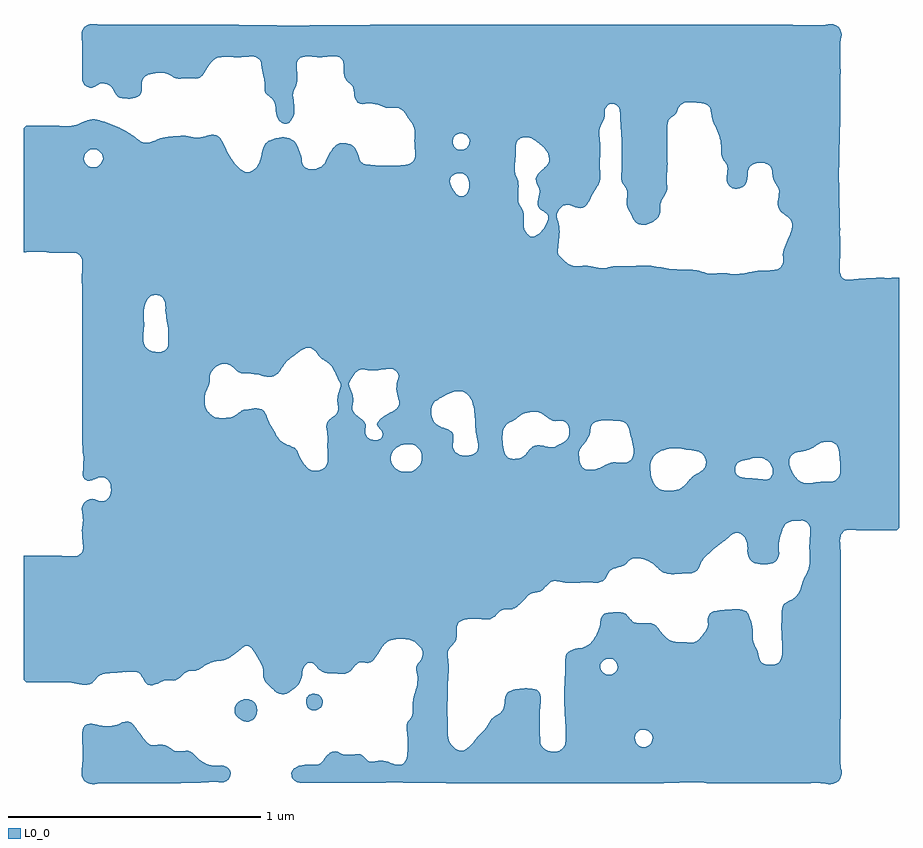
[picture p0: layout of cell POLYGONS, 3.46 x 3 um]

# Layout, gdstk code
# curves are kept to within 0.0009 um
import gdstk
lib = gdstk.Library(unit=1e-6, precision=1e-09)
def R(c, l, rs):  # rectangles x0, y0, x1, y1
    for r in rs: c.add(gdstk.rectangle(r[:2], r[2:], *l))
def P(c, l, *ps):  # polygons
    for p in ps: c.add(gdstk.Polygon(p, *l))
L0_0 = (0, 0)

polygons = lib.new_cell('POLYGONS')
R(polygons, L0_0, [(-1.499,0.02,-1.36,0.26), (-0.544,0.88,-0.42,0.94), (-0.42,0.88,-0.26,0.94), (-0.26,0.88,-0.12,0.94)])
P(polygons, L0_0, [(-1.47,-1.501),(-1.45,-1.502),(-1.42,-1.499),(-1.36,-1.5),(-1.11,-1.499),(-1.03,-1.497),(-0.99,-1.494),(-0.97,-1.494),(-0.96,-1.496),(-0.95,-1.496),(-0.94,-1.495),(-0.93,-1.491),(-0.92,-1.483),(-0.914,-1.47),(-0.913,-1.46),(-0.915,-1.45),(-0.92,-1.442),(-0.93,-1.434),(-0.94,-1.43),(-0.95,-1.428),(-0.98,-1.43),(-1,-1.425),(-1.013,-1.42),(-1.03,-1.41),(-1.043,-1.4),(-1.06,-1.382),(-1.07,-1.374),(-1.08,-1.371),(-1.11,-1.373),(-1.13,-1.372),(-1.14,-1.368),(-1.17,-1.348),(-1.18,-1.346),(-1.22,-1.348),(-1.23,-1.346),(-1.24,-1.341),(-1.259,-1.32),(-1.29,-1.277),(-1.3,-1.265),(-1.31,-1.257),(-1.32,-1.254),(-1.33,-1.255),(-1.369,-1.27),(-1.39,-1.273),(-1.41,-1.273),(-1.43,-1.271),(-1.45,-1.265),(-1.46,-1.263),(-1.47,-1.263),(-1.48,-1.265),(-1.488,-1.27),(-1.495,-1.28),(-1.498,-1.29),(-1.499,-1.3),(-1.498,-1.41),(-1.502,-1.45),(-1.5,-1.475),(-1.492,-1.49),(-1.48,-1.498)],
  [(-1.499,1.477),(-1.5,1.475),(-1.501,1.47),(-1.502,1.46),(-1.502,1.45),(-1.501,1.44),(-1.5,1.434),(-1.5,1.43),(-1.499,1.426)],
  [(-1.499,1.368),(-1.499,1.36),(-1.499,1.352)],
  [(-1.72,0.6),(-1.67,0.6),(-1.63,0.598),(-1.53,0.598),(-1.52,0.595),(-1.51,0.59),(-1.503,0.58),(-1.499,0.561),(-1.499,1.113),(-1.53,1.101),(-1.55,1.098),(-1.62,1.1),(-1.64,1.099),(-1.72,1.1),(-1.73,1.09),(-1.73,0.6)],
  [(-1.499,0.541),(-1.5,0.53),(-1.5,0.52),(-1.501,0.51),(-1.501,0.48),(-1.5,0.471),(-1.5,0.46),(-1.499,0.45)],
  [(-1.5,0.23),(-1.5,-0.06),(-1.499,-0.07),(-1.499,-0.074),(-1.499,0.423),(-1.499,0.41),(-1.5,0.4)],
  [(-1.499,-0.404),(-1.5,-0.407),(-1.501,-0.41),(-1.501,-0.42),(-1.5,-0.424),(-1.499,-0.43)],
  [(-1.499,-0.486),(-1.5,-0.49),(-1.5,-0.491),(-1.501,-0.5),(-1.5,-0.51),(-1.5,-0.515),(-1.5,-0.52),(-1.499,-0.523)],
  [(-1.499,-0.584),(-1.503,-0.59),(-1.51,-0.596),(-1.52,-0.601),(-1.53,-0.602),(-1.61,-0.599),(-1.73,-0.6),(-1.73,-1.09),(-1.72,-1.1),(-1.55,-1.1),(-1.499,-1.109)],
  [(-1.36,1.5),(-1.42,1.499),(-1.45,1.502),(-1.47,1.501),(-1.48,1.498),(-1.49,1.492),(-1.499,1.477),(-1.499,1.28),(-1.496,1.27),(-1.49,1.26),(-1.48,1.253),(-1.47,1.25),(-1.46,1.251),(-1.45,1.254),(-1.43,1.265),(-1.42,1.267),(-1.4,1.264),(-1.39,1.259),(-1.38,1.249),(-1.37,1.23),(-1.36,1.217)],
  [(-1.36,1.095),(-1.38,1.104),(-1.41,1.115),(-1.44,1.124),(-1.46,1.125),(-1.48,1.121),(-1.499,1.113),(-1.499,0.97),(-1.493,0.97),(-1.492,0.98),(-1.49,0.985),(-1.478,1),(-1.47,1.004),(-1.46,1.006),(-1.45,1.006),(-1.44,1.004),(-1.432,1),(-1.422,0.99),(-1.418,0.98),(-1.417,0.97),(-1.42,0.959),(-1.43,0.945),(-1.436,0.94),(-1.45,0.935),(-1.46,0.935),(-1.475,0.94),(-1.486,0.95),(-1.492,0.96),(-1.493,0.97),(-1.499,0.97),(-1.499,0.88),(-1.36,0.88)],
  [(-1.36,0.88),(-1.499,0.88),(-1.499,0.561),(-1.499,0.56),(-1.499,0.55),(-1.499,0.541),(-1.499,0.45),(-1.499,0.44),(-1.499,0.43),(-1.499,0.423),(-1.499,0.26),(-1.36,0.26)],
  [(-1.47,-1.108),(-1.46,-1.103),(-1.44,-1.081),(-1.43,-1.073),(-1.42,-1.069),(-1.4,-1.065),(-1.36,-1.062),(-1.36,0.02),(-1.499,0.02),(-1.499,-0.16),(-1.498,-0.18),(-1.494,-0.21),(-1.497,-0.27),(-1.497,-0.28),(-1.495,-0.29),(-1.49,-0.297),(-1.48,-0.303),(-1.46,-0.302),(-1.43,-0.289),(-1.42,-0.289),(-1.41,-0.292),(-1.4,-0.298),(-1.391,-0.31),(-1.387,-0.32),(-1.385,-0.34),(-1.386,-0.35),(-1.39,-0.363),(-1.394,-0.37),(-1.41,-0.383),(-1.42,-0.385),(-1.43,-0.385),(-1.45,-0.376),(-1.46,-0.374),(-1.47,-0.376),(-1.479,-0.38),(-1.49,-0.388),(-1.498,-0.4),(-1.499,-0.404),(-1.499,-0.43),(-1.496,-0.46),(-1.499,-0.486),(-1.499,-0.53),(-1.496,-0.56),(-1.496,-0.57),(-1.499,-0.584),(-1.499,-1.109),(-1.48,-1.11)],
  [(-1.31,1.207),(-1.29,1.21),(-1.28,1.214),(-1.27,1.222),(-1.265,1.23),(-1.263,1.24),(-1.264,1.26),(-1.261,1.28),(-1.255,1.29),(-1.243,1.3),(-1.21,1.308),(-1.18,1.309),(-1.16,1.304),(-1.14,1.292),(-1.13,1.288),(-1.12,1.286),(-1.12,1.5),(-1.36,1.5),(-1.36,1.217),(-1.35,1.211),(-1.34,1.208)],
  [(-1.12,1.059),(-1.17,1.055),(-1.19,1.05),(-1.21,1.041),(-1.23,1.035),(-1.24,1.033),(-1.25,1.033),(-1.26,1.035),(-1.27,1.039),(-1.313,1.07),(-1.34,1.086),(-1.36,1.095),(-1.36,0.88),(-1.12,0.88)],
  [(-1.12,0.88),(-1.36,0.88),(-1.36,0.26),(-1.258,0.26),(-1.254,0.31),(-1.255,0.37),(-1.252,0.39),(-1.245,0.41),(-1.237,0.42),(-1.23,0.426),(-1.21,0.431),(-1.2,0.43),(-1.19,0.427),(-1.181,0.42),(-1.171,0.4),(-1.169,0.38),(-1.17,0.37),(-1.166,0.33),(-1.16,0.3),(-1.159,0.27),(-1.159,0.24),(-1.16,0.23),(-1.164,0.22),(-1.17,0.213),(-1.175,0.21),(-1.19,0.205),(-1.22,0.207),(-1.23,0.21),(-1.245,0.22),(-1.252,0.23),(-1.255,0.24),(-1.258,0.26),(-1.36,0.26),(-1.36,0.02),(-1.12,0.02)],
  [(-1.34,-1.061),(-1.31,-1.058),(-1.29,-1.058),(-1.28,-1.06),(-1.27,-1.066),(-1.25,-1.1),(-1.24,-1.109),(-1.23,-1.112),(-1.22,-1.111),(-1.2,-1.105),(-1.17,-1.091),(-1.14,-1.093),(-1.13,-1.092),(-1.12,-1.086),(-1.12,0.02),(-1.36,0.02),(-1.36,-1.062)],
  [(-1.04,1.288),(-1.03,1.293),(-1.023,1.3),(-0.998,1.34),(-0.99,1.35),(-0.98,1.36),(-0.97,1.366),(-0.96,1.37),(-0.94,1.372),(-0.9,1.371),(-0.86,1.372),(-0.86,1.498),(-1.12,1.5),(-1.12,1.286),(-1.09,1.288),(-1.07,1.288),(-1.05,1.286)],
  [(-0.86,0.919),(-0.88,0.933),(-0.896,0.95),(-0.922,0.99),(-0.95,1.045),(-0.96,1.057),(-0.97,1.063),(-0.98,1.065),(-0.99,1.064),(-1.02,1.056),(-1.04,1.053),(-1.05,1.053),(-1.09,1.06),(-1.12,1.059),(-1.12,0.88),(-0.86,0.88)],
  [(-1.014,0.03),(-1.01,0.048),(-0.997,0.08),(-0.996,0.11),(-0.993,0.12),(-0.988,0.13),(-0.98,0.14),(-0.97,0.149),(-0.95,0.158),(-0.93,0.159),(-0.91,0.152),(-0.88,0.125),(-0.87,0.121),(-0.86,0.121),(-0.86,0.88),(-1.12,0.88),(-1.12,0.02),(-1.015,0.02)],
  [(-1.112,-1.08),(-1.09,-1.061),(-1.08,-1.056),(-1.07,-1.054),(-1.06,-1.055),(-1.05,-1.054),(-1.04,-1.051),(-1.01,-1.031),(-0.99,-1.021),(-0.98,-1.018),(-0.95,-1.014),(-0.93,-1.009),(-0.913,-1),(-0.898,-0.99),(-0.86,-0.96),(-0.86,-0.023),(-0.87,-0.027),(-0.89,-0.043),(-0.91,-0.052),(-0.94,-0.056),(-0.97,-0.054),(-0.98,-0.05),(-0.99,-0.043),(-1.002,-0.03),(-1.012,-0.01),(-1.014,0),(-1.015,0.02),(-1.12,0.02),(-1.12,-1.086)],
  [(-0.84,1.373),(-0.82,1.372),(-0.812,1.37),(-0.8,1.363),(-0.797,1.36),(-0.792,1.35),(-0.79,1.328),(-0.779,1.28),(-0.778,1.24),(-0.775,1.23),(-0.766,1.22),(-0.75,1.208),(-0.74,1.193),(-0.734,1.17),(-0.734,1.16),(-0.731,1.14),(-0.727,1.13),(-0.72,1.12),(-0.71,1.111),(-0.7,1.107),(-0.69,1.107),(-0.68,1.112),(-0.68,1.496),(-0.86,1.498),(-0.86,1.372)],
  [(-0.68,1.05),(-0.69,1.053),(-0.7,1.054),(-0.72,1.053),(-0.74,1.049),(-0.761,1.04),(-0.77,1.033),(-0.78,1.02),(-0.79,0.99),(-0.797,0.96),(-0.801,0.95),(-0.81,0.936),(-0.816,0.93),(-0.83,0.92),(-0.84,0.917),(-0.85,0.916),(-0.86,0.919),(-0.86,0.88),(-0.68,0.88)],
  [(-0.75,0.107),(-0.73,0.117),(-0.72,0.128),(-0.7,0.158),(-0.689,0.17),(-0.68,0.177),(-0.68,0.88),(-0.86,0.88),(-0.86,0.121),(-0.83,0.12),(-0.8,0.115),(-0.77,0.107)],
  [(-0.84,-0.957),(-0.83,-0.965),(-0.82,-0.98),(-0.795,-1.02),(-0.785,-1.04),(-0.783,-1.05),(-0.784,-1.06),(-0.783,-1.08),(-0.773,-1.1),(-0.732,-1.14),(-0.72,-1.146),(-0.71,-1.148),(-0.7,-1.148),(-0.69,-1.145),(-0.68,-1.139),(-0.68,-0.164),(-0.69,-0.161),(-0.7,-0.156),(-0.71,-0.15),(-0.721,-0.14),(-0.729,-0.13),(-0.74,-0.108),(-0.757,-0.08),(-0.762,-0.07),(-0.773,-0.04),(-0.779,-0.03),(-0.79,-0.021),(-0.8,-0.018),(-0.81,-0.017),(-0.83,-0.018),(-0.86,-0.023),(-0.86,-0.96),(-0.85,-0.956)],
  [(-0.674,1.12),(-0.67,1.125),(-0.664,1.14),(-0.662,1.15),(-0.661,1.17),(-0.667,1.22),(-0.666,1.23),(-0.663,1.24),(-0.654,1.26),(-0.649,1.28),(-0.649,1.3),(-0.652,1.33),(-0.651,1.35),(-0.646,1.36),(-0.64,1.366),(-0.63,1.371),(-0.61,1.374),(-0.57,1.371),(-0.544,1.372),(-0.544,1.497),(-0.68,1.496),(-0.68,1.112)],
  [(-0.57,0.931),(-0.58,0.928),(-0.6,0.928),(-0.61,0.931),(-0.62,0.936),(-0.624,0.94),(-0.63,0.95),(-0.634,0.98),(-0.649,1.02),(-0.655,1.03),(-0.664,1.04),(-0.67,1.045),(-0.68,1.05),(-0.68,0.88),(-0.544,0.88),(-0.544,0.947),(-0.551,0.94)],
  [(-0.67,0.185),(-0.652,0.2),(-0.63,0.215),(-0.61,0.222),(-0.6,0.222),(-0.59,0.219),(-0.58,0.211),(-0.564,0.19),(-0.554,0.18),(-0.544,0.174),(-0.544,0.88),(-0.68,0.88),(-0.68,0.177)],
  [(-0.67,-1.131),(-0.656,-1.12),(-0.646,-1.11),(-0.639,-1.1),(-0.632,-1.08),(-0.628,-1.05),(-0.62,-1.034),(-0.61,-1.025),(-0.6,-1.022),(-0.59,-1.022),(-0.58,-1.03),(-0.562,-1.05),(-0.55,-1.058),(-0.544,-1.06),(-0.544,-0.253),(-0.557,-0.26),(-0.57,-0.263),(-0.58,-0.264),(-0.59,-0.263),(-0.6,-0.259),(-0.621,-0.24),(-0.628,-0.23),(-0.653,-0.18),(-0.665,-0.17),(-0.68,-0.164),(-0.68,-1.139)],
  [(-0.544,-1.406),(-0.55,-1.414),(-0.557,-1.42),(-0.57,-1.426),(-0.61,-1.425),(-0.63,-1.427),(-0.64,-1.429),(-0.65,-1.433),(-0.66,-1.439),(-0.669,-1.45),(-0.672,-1.46),(-0.671,-1.47),(-0.668,-1.48),(-0.659,-1.49),(-0.65,-1.495),(-0.64,-1.497),(-0.544,-1.498)],
  [(-0.42,1.498),(-0.544,1.497),(-0.544,1.372),(-0.5,1.375),(-0.49,1.373),(-0.48,1.369),(-0.471,1.36),(-0.467,1.35),(-0.466,1.32),(-0.462,1.29),(-0.45,1.273),(-0.434,1.26),(-0.427,1.25),(-0.42,1.207)],
  [(-0.42,1.011),(-0.43,1.021),(-0.44,1.026),(-0.45,1.029),(-0.46,1.031),(-0.48,1.031),(-0.49,1.027),(-0.499,1.02),(-0.508,1.01),(-0.522,0.99),(-0.541,0.95),(-0.544,0.947),(-0.544,0.94),(-0.42,0.94)],
  [(-0.48,0.064),(-0.487,0.04),(-0.491,0.02),(-0.491,0.01),(-0.487,-0.01),(-0.487,-0.02),(-0.49,-0.03),(-0.5,-0.045),(-0.519,-0.06),(-0.528,-0.07),(-0.533,-0.08),(-0.535,-0.09),(-0.531,-0.11),(-0.529,-0.13),(-0.53,-0.17),(-0.528,-0.22),(-0.529,-0.23),(-0.532,-0.24),(-0.539,-0.25),(-0.544,-0.253),(-0.544,-1.06),(-0.54,-1.062),(-0.52,-1.065),(-0.47,-1.067),(-0.46,-1.066),(-0.45,-1.063),(-0.445,-1.06),(-0.434,-1.05),(-0.42,-1.033),(-0.42,-0.04),(-0.428,-0.03),(-0.431,-0.02),(-0.432,-0.01),(-0.427,0.02),(-0.431,0.04),(-0.444,0.07),(-0.445,0.08),(-0.441,0.09),(-0.42,0.123),(-0.42,0.88),(-0.544,0.88),(-0.544,0.174),(-0.52,0.158),(-0.506,0.14),(-0.49,0.101),(-0.478,0.08),(-0.478,0.07)],
  [(-0.42,-1.498),(-0.42,-1.384),(-0.44,-1.387),(-0.46,-1.387),(-0.47,-1.384),(-0.49,-1.375),(-0.5,-1.373),(-0.51,-1.375),(-0.52,-1.379),(-0.532,-1.39),(-0.544,-1.406),(-0.544,-1.498)],
  [(-0.284,1.17),(-0.26,1.171),(-0.26,1.5),(-0.42,1.498),(-0.42,1.207),(-0.417,1.2),(-0.41,1.19),(-0.4,1.186),(-0.39,1.185),(-0.37,1.188),(-0.35,1.187),(-0.33,1.182),(-0.3,1.171)],
  [(-0.26,0.942),(-0.28,0.941),(-0.33,0.942),(-0.38,0.947),(-0.389,0.95),(-0.4,0.96),(-0.41,0.99),(-0.42,1.011),(-0.42,0.94),(-0.26,0.94)],
  [(-0.413,0.13),(-0.4,0.136),(-0.39,0.138),(-0.37,0.134),(-0.34,0.133),(-0.31,0.137),(-0.28,0.139),(-0.27,0.137),(-0.26,0.132),(-0.26,0.88),(-0.42,0.88),(-0.42,0.123)],
  [(-0.29,-0.038),(-0.31,-0.05),(-0.32,-0.058),(-0.33,-0.07),(-0.334,-0.08),(-0.33,-0.09),(-0.314,-0.11),(-0.311,-0.12),(-0.313,-0.13),(-0.32,-0.137),(-0.33,-0.142),(-0.34,-0.143),(-0.36,-0.14),(-0.37,-0.134),(-0.374,-0.13),(-0.379,-0.12),(-0.381,-0.11),(-0.378,-0.09),(-0.379,-0.08),(-0.385,-0.07),(-0.395,-0.06),(-0.42,-0.04),(-0.42,-0.21),(-0.279,-0.21),(-0.277,-0.2),(-0.273,-0.19),(-0.26,-0.174),(-0.26,-0.021),(-0.273,-0.03)],
  [(-0.417,-1.03),(-0.41,-1.024),(-0.4,-1.021),(-0.39,-1.021),(-0.37,-1.024),(-0.358,-1.02),(-0.35,-1.014),(-0.34,-1.003),(-0.32,-0.97),(-0.31,-0.956),(-0.3,-0.945),(-0.29,-0.938),(-0.28,-0.934),(-0.27,-0.931),(-0.26,-0.93),(-0.26,-0.255),(-0.273,-0.24),(-0.277,-0.23),(-0.279,-0.22),(-0.279,-0.21),(-0.42,-0.21),(-0.42,-1.033)],
  [(-0.41,-1.498),(-0.3,-1.497),(-0.26,-1.495),(-0.26,-1.425),(-0.29,-1.415),(-0.31,-1.411),(-0.33,-1.411),(-0.34,-1.413),(-0.36,-1.414),(-0.37,-1.41),(-0.39,-1.39),(-0.4,-1.385),(-0.42,-1.384),(-0.42,-1.498)],
  [(-0.185,1.02),(-0.183,1),(-0.183,0.98),(-0.185,0.97),(-0.19,0.96),(-0.2,0.952),(-0.21,0.948),(-0.23,0.944),(-0.26,0.942),(-0.26,0.94),(-0.12,0.94),(-0.12,1.5),(-0.26,1.5),(-0.26,1.171),(-0.25,1.17),(-0.23,1.16),(-0.211,1.13),(-0.195,1.11),(-0.19,1.1),(-0.187,1.09),(-0.184,1.07),(-0.186,1.04)],
  [(-0.12,0.88),(-0.26,0.88),(-0.26,0.132),(-0.25,0.12),(-0.248,0.11),(-0.255,0.08),(-0.257,0.06),(-0.256,0.05),(-0.247,0.01),(-0.247,0),(-0.25,-0.01),(-0.26,-0.021),(-0.26,-0.03),(-0.12,-0.03)],
  [(-0.25,-0.168),(-0.23,-0.161),(-0.222,-0.16),(-0.2,-0.159),(-0.19,-0.161),(-0.174,-0.17),(-0.165,-0.18),(-0.16,-0.19),(-0.157,-0.21),(-0.16,-0.23),(-0.164,-0.24),(-0.18,-0.258),(-0.19,-0.263),(-0.2,-0.267),(-0.21,-0.268),(-0.23,-0.267),(-0.24,-0.265),(-0.26,-0.255),(-0.26,-0.93),(-0.25,-0.928),(-0.23,-0.928),(-0.21,-0.93),(-0.19,-0.937),(-0.18,-0.944),(-0.157,-0.97),(-0.153,-0.98),(-0.153,-0.99),(-0.155,-1),(-0.16,-1.01),(-0.174,-1.03),(-0.178,-1.04),(-0.178,-1.05),(-0.174,-1.07),(-0.173,-1.09),(-0.177,-1.12),(-0.191,-1.17),(-0.192,-1.22),(-0.194,-1.23),(-0.198,-1.24),(-0.214,-1.26),(-0.217,-1.27),(-0.213,-1.32),(-0.213,-1.37),(-0.216,-1.4),(-0.22,-1.41),(-0.228,-1.42),(-0.24,-1.425),(-0.26,-1.425),(-0.26,-1.495),(-0.22,-1.498),(-0.19,-1.497),(-0.12,-1.498),(-0.12,-0.03),(-0.26,-0.03),(-0.26,-0.174)],
  [(-0.033,1.05),(-0.026,1.06),(-0.02,1.065),(-0.01,1.069),(0,1.07),(0.01,1.067),(0.02,1.062),(0.02,1.5),(-0.12,1.5),(-0.12,1.04),(-0.035,1.04)],
  [(0.02,1.011),(0.01,1.006),(0,1.004),(-0.01,1.005),(-0.022,1.01),(-0.031,1.02),(-0.035,1.03),(-0.035,1.04),(-0.12,1.04),(-0.12,0.94),(0.02,0.94)],
  [(-0.044,0.89),(-0.038,0.9),(-0.03,0.906),(-0.02,0.911),(0,0.912),(0.01,0.908),(0.02,0.9),(0.02,0.94),(-0.12,0.94),(-0.12,0.88),(-0.046,0.88)],
  [(-0.12,-0.026),(-0.12,-0.02),(-0.113,0),(-0.105,0.01),(-0.072,0.03),(-0.05,0.041),(-0.03,0.048),(-0.01,0.051),(0,0.05),(0.02,0.04),(0.02,0.831),(0.01,0.824),(0,0.822),(-0.01,0.824),(-0.02,0.83),(-0.029,0.84),(-0.04,0.858),(-0.045,0.87),(-0.046,0.88),(-0.12,0.88)],
  [(-0.056,-1.2),(-0.054,-1.15),(-0.054,-1.1),(-0.05,-1.05),(-0.05,-1.03),(-0.055,-0.99),(-0.054,-0.98),(-0.051,-0.97),(-0.025,-0.94),(-0.02,-0.93),(-0.019,-0.89),(-0.018,-0.88),(-0.014,-0.87),(-0.007,-0.86),(0.01,-0.852),(0.02,-0.85),(0.02,-0.204),(0.01,-0.204),(-0.008,-0.2),(-0.024,-0.19),(-0.031,-0.18),(-0.034,-0.17),(-0.032,-0.13),(-0.033,-0.12),(-0.039,-0.11),(-0.05,-0.102),(-0.08,-0.091),(-0.1,-0.08),(-0.109,-0.07),(-0.114,-0.06),(-0.117,-0.05),(-0.12,-0.03),(-0.12,-1.21),(-0.056,-1.21)],
  [(0.02,-1.362),(0.01,-1.368),(0.001,-1.37),(-0.01,-1.369),(-0.02,-1.365),(-0.037,-1.35),(-0.05,-1.33),(-0.055,-1.31),(-0.054,-1.25),(-0.056,-1.23),(-0.056,-1.21),(-0.12,-1.21),(-0.12,-1.498),(0.02,-1.499)],
  [(0.21,0.945),(0.213,0.97),(0.213,1.5),(0.02,1.5),(0.02,1.062),(0.029,1.05),(0.032,1.04),(0.03,1.026),(0.02,1.011),(0.02,0.94),(0.21,0.94)],
  [(0.065,-0.15),(0.067,-0.16),(0.067,-0.17),(0.065,-0.18),(0.06,-0.189),(0.05,-0.196),(0.04,-0.2),(0.03,-0.203),(0.02,-0.204),(0.02,-0.85),(0.07,-0.849),(0.09,-0.851),(0.11,-0.851),(0.13,-0.841),(0.15,-0.821),(0.16,-0.815),(0.17,-0.812),(0.2,-0.811),(0.21,-0.808),(0.213,-0.805),(0.213,-0.217),(0.21,-0.218),(0.19,-0.215),(0.181,-0.21),(0.173,-0.2),(0.169,-0.19),(0.165,-0.17),(0.162,-0.14),(0.164,-0.11),(0.166,-0.1),(0.17,-0.09),(0.18,-0.079),(0.213,-0.061),(0.213,0.91),(0.21,0.928),(0.21,0.94),(0.02,0.94),(0.02,0.9),(0.026,0.89),(0.031,0.87),(0.031,0.86),(0.029,0.85),(0.026,0.84),(0.02,0.831),(0.02,0.04),(0.03,0.03),(0.037,0.02),(0.042,0.01),(0.048,-0.01),(0.054,-0.06),(0.056,-0.11)],
  [(0.04,-1.499),(0.213,-1.499),(0.213,-1.128),(0.2,-1.131),(0.19,-1.135),(0.183,-1.14),(0.176,-1.15),(0.172,-1.16),(0.169,-1.19),(0.164,-1.21),(0.156,-1.22),(0.13,-1.236),(0.12,-1.245),(0.109,-1.26),(0.1,-1.276),(0.09,-1.289),(0.06,-1.321),(0.045,-1.34),(0.03,-1.355),(0.02,-1.362),(0.02,-1.499)],
  [(0.214,0.98),(0.214,1.02),(0.216,1.03),(0.22,1.04),(0.23,1.049),(0.24,1.053),(0.25,1.055),(0.26,1.055),(0.27,1.053),(0.28,1.049),(0.307,1.03),(0.325,1.014),(0.325,1.5),(0.213,1.5),(0.213,0.97)],
  [(0.325,0.93),(0.313,0.92),(0.304,0.91),(0.297,0.9),(0.294,0.89),(0.295,0.88),(0.298,0.87),(0.308,0.85),(0.309,0.84),(0.301,0.79),(0.304,0.78),(0.31,0.772),(0.325,0.761)],
  [(0.214,-0.06),(0.23,-0.046),(0.24,-0.04),(0.26,-0.034),(0.289,-0.03),(0.3,-0.031),(0.31,-0.034),(0.325,-0.042),(0.325,0.692),(0.315,0.68),(0.303,0.67),(0.29,0.664),(0.28,0.662),(0.27,0.664),(0.261,0.67),(0.253,0.68),(0.248,0.69),(0.246,0.71),(0.247,0.74),(0.245,0.76),(0.23,0.786),(0.225,0.8),(0.224,0.83),(0.226,0.86),(0.224,0.88),(0.213,0.909),(0.213,-0.061)],
  [(0.241,-0.21),(0.23,-0.215),(0.213,-0.217),(0.213,-0.805),(0.22,-0.801),(0.23,-0.792),(0.26,-0.76),(0.27,-0.752),(0.28,-0.748),(0.29,-0.747),(0.31,-0.742),(0.32,-0.736),(0.325,-0.731),(0.325,-0.166),(0.3,-0.164),(0.29,-0.165),(0.28,-0.169),(0.268,-0.18),(0.253,-0.2)],
  [(0.325,-1.36),(0.316,-1.35),(0.312,-1.34),(0.311,-1.33),(0.309,-1.23),(0.313,-1.18),(0.313,-1.16),(0.31,-1.144),(0.3,-1.131),(0.29,-1.127),(0.28,-1.125),(0.25,-1.124),(0.213,-1.128),(0.213,-1.499),(0.325,-1.499)],
  [(0.34,0.726),(0.334,0.71),(0.325,0.692),(0.325,-0.042),(0.34,-0.054),(0.36,-0.067),(0.37,-0.069),(0.38,-0.067),(0.4,-0.066),(0.41,-0.07),(0.42,-0.081),(0.424,-0.09),(0.426,-0.1),(0.426,-0.11),(0.423,-0.13),(0.418,-0.14),(0.41,-0.148),(0.4,-0.154),(0.37,-0.168),(0.36,-0.17),(0.34,-0.169),(0.325,-0.166),(0.325,-0.2),(0.45,-0.2),(0.45,0.545),(0.429,0.55),(0.42,0.555),(0.392,0.58),(0.383,0.59),(0.381,0.6),(0.381,0.61),(0.387,0.66),(0.388,0.68),(0.386,0.7),(0.382,0.72),(0.376,0.74),(0.377,0.75),(0.381,0.76),(0.39,0.774),(0.4,0.783),(0.41,0.786),(0.42,0.787),(0.43,0.785),(0.45,0.778),(0.45,1.499),(0.325,1.5),(0.325,1.014),(0.329,1.01),(0.342,0.99),(0.347,0.97),(0.346,0.96),(0.342,0.95),(0.335,0.94),(0.325,0.93),(0.325,0.761),(0.34,0.748),(0.343,0.74),(0.342,0.73)],
  [(0.326,-0.73),(0.344,-0.71),(0.35,-0.705),(0.36,-0.7),(0.37,-0.699),(0.38,-0.7),(0.4,-0.705),(0.42,-0.707),(0.45,-0.707),(0.45,-0.2),(0.325,-0.2),(0.325,-0.731)],
  [(0.41,-1.06),(0.407,-1.12),(0.407,-1.19),(0.413,-1.29),(0.413,-1.32),(0.411,-1.34),(0.408,-1.35),(0.401,-1.36),(0.39,-1.369),(0.38,-1.373),(0.37,-1.374),(0.35,-1.373),(0.34,-1.37),(0.325,-1.36),(0.325,-1.499),(0.45,-1.499),(0.45,-0.968),(0.43,-0.975),(0.423,-0.98),(0.415,-0.99),(0.412,-1),(0.411,-1.01)],
  [(0.48,0.776),(0.49,0.782),(0.497,0.79),(0.503,0.8),(0.517,0.83),(0.543,0.87),(0.548,0.89),(0.547,0.93),(0.548,1.03),(0.544,1.06),(0.545,1.08),(0.55,1.098),(0.564,1.13),(0.569,1.17),(0.58,1.182),(0.58,1.499),(0.45,1.499),(0.45,0.778),(0.47,0.774)],
  [(0.464,-0.19),(0.467,-0.18),(0.491,-0.15),(0.502,-0.13),(0.506,-0.12),(0.511,-0.09),(0.517,-0.08),(0.53,-0.071),(0.54,-0.068),(0.56,-0.065),(0.58,-0.065),(0.58,0.54),(0.57,0.537),(0.55,0.536),(0.5,0.547),(0.45,0.545),(0.45,-0.2),(0.464,-0.2)],
  [(0.54,-0.254),(0.514,-0.26),(0.5,-0.26),(0.49,-0.258),(0.478,-0.25),(0.47,-0.236),(0.466,-0.22),(0.464,-0.2),(0.45,-0.2),(0.45,-0.707),(0.49,-0.704),(0.54,-0.706),(0.56,-0.699),(0.569,-0.69),(0.58,-0.668),(0.58,-0.236),(0.55,-0.251)],
  [(0.549,-1.03),(0.554,-1.02),(0.56,-1.014),(0.57,-1.008),(0.58,-1.006),(0.58,-0.825),(0.57,-0.827),(0.564,-0.83),(0.56,-0.833),(0.555,-0.84),(0.55,-0.854),(0.546,-0.88),(0.535,-0.91),(0.523,-0.93),(0.51,-0.946),(0.5,-0.954),(0.48,-0.963),(0.45,-0.968),(0.45,-1.04),(0.548,-1.04)],
  [(0.58,-1.07),(0.58,-1.07),(0.57,-1.068),(0.56,-1.062),(0.558,-1.06),(0.55,-1.05),(0.55,-1.05),(0.548,-1.04),(0.45,-1.04),(0.45,-1.32),(0.58,-1.32)],
  [(0.46,-1.499),(0.47,-1.499),(0.49,-1.499),(0.5,-1.499),(0.51,-1.499),(0.52,-1.499),(0.53,-1.499),(0.54,-1.499),(0.56,-1.499),(0.57,-1.499),(0.58,-1.499),(0.58,-1.32),(0.45,-1.32),(0.45,-1.499)],
  [(0.6,1.186),(0.614,1.18),(0.62,1.174),(0.623,1.17),(0.628,1.15),(0.628,1.12),(0.634,1.04),(0.633,1.01),(0.634,0.93),(0.631,0.9),(0.631,0.89),(0.633,0.88),(0.638,0.87),(0.65,0.854),(0.655,0.84),(0.656,0.83),(0.654,0.81),(0.654,0.79),(0.656,0.78),(0.679,0.73),(0.69,0.717),(0.7,0.711),(0.7,1.5),(0.58,1.499),(0.58,1.182),(0.59,1.186)],
  [(0.7,0.546),(0.67,0.544),(0.6,0.545),(0.58,0.54),(0.58,-0.065),(0.63,-0.068),(0.64,-0.071),(0.653,-0.08),(0.66,-0.09),(0.663,-0.1),(0.669,-0.13),(0.675,-0.15),(0.679,-0.17),(0.681,-0.19),(0.676,-0.21),(0.67,-0.22),(0.66,-0.228),(0.65,-0.232),(0.64,-0.233),(0.6,-0.23),(0.59,-0.232),(0.58,-0.236),(0.58,-0.25),(0.7,-0.25)],
  [(0.586,-0.66),(0.6,-0.651),(0.63,-0.644),(0.64,-0.64),(0.65,-0.633),(0.67,-0.613),(0.679,-0.61),(0.69,-0.609),(0.7,-0.61),(0.7,-0.25),(0.58,-0.25),(0.58,-0.668)],
  [(0.687,-1.31),(0.69,-1.302),(0.7,-1.292),(0.7,-0.867),(0.68,-0.862),(0.677,-0.86),(0.65,-0.83),(0.64,-0.826),(0.62,-0.823),(0.58,-0.825),(0.58,-1.006),(0.59,-1.006),(0.6,-1.009),(0.61,-1.018),(0.616,-1.03),(0.617,-1.04),(0.615,-1.05),(0.608,-1.06),(0.6,-1.066),(0.59,-1.07),(0.58,-1.07),(0.58,-1.32),(0.685,-1.32)],
  [(0.68,-1.499),(0.7,-1.499),(0.7,-1.35),(0.69,-1.34),(0.686,-1.33),(0.685,-1.32),(0.58,-1.32),(0.58,-1.499)],
  [(0.73,0.709),(0.75,0.716),(0.757,0.72),(0.77,0.73),(0.779,0.74),(0.784,0.75),(0.785,0.78),(0.786,0.79),(0.789,0.8),(0.811,0.84),(0.813,0.85),(0.811,0.9),(0.815,0.95),(0.814,0.96),(0.814,1.1),(0.815,1.11),(0.818,1.12),(0.826,1.13),(0.84,1.142),(0.84,1.5),(0.7,1.5),(0.7,0.711),(0.71,0.708)],
  [(0.747,-0.24),(0.748,-0.23),(0.757,-0.21),(0.765,-0.2),(0.77,-0.196),(0.79,-0.185),(0.81,-0.179),(0.84,-0.174),(0.84,0.532),(0.75,0.546),(0.72,0.547),(0.7,0.546),(0.7,-0.25),(0.746,-0.25)],
  [(0.84,-0.341),(0.81,-0.343),(0.79,-0.339),(0.78,-0.334),(0.77,-0.327),(0.764,-0.32),(0.753,-0.3),(0.75,-0.29),(0.746,-0.25),(0.7,-0.25),(0.7,-0.61),(0.71,-0.611),(0.73,-0.617),(0.75,-0.627),(0.76,-0.634),(0.788,-0.66),(0.8,-0.667),(0.83,-0.672),(0.84,-0.672)],
  [(0.71,-1.288),(0.72,-1.287),(0.73,-1.289),(0.74,-1.293),(0.75,-1.304),(0.753,-1.31),(0.755,-1.32),(0.754,-1.33),(0.75,-1.34),(0.74,-1.35),(0.73,-1.354),(0.72,-1.356),(0.71,-1.354),(0.7,-1.35),(0.7,-1.499),(0.84,-1.498),(0.84,-0.939),(0.83,-0.936),(0.818,-0.93),(0.805,-0.92),(0.795,-0.91),(0.77,-0.877),(0.76,-0.87),(0.75,-0.867),(0.74,-0.866),(0.7,-0.867),(0.7,-1.292)],
  [(0.85,1.153),(0.857,1.17),(0.864,1.18),(0.87,1.185),(0.88,1.19),(0.89,1.192),(0.91,1.193),(0.95,1.189),(0.96,1.187),(0.97,1.183),(0.983,1.17),(0.986,1.16),(0.991,1.13),(1,1.104),(1.018,1.06),(1.024,1.04),(1.025,1.03),(1.025,1.499),(1.01,1.5),(0.84,1.5),(0.84,1.142)],
  [(0.86,-0.175),(0.88,-0.179),(0.92,-0.184),(0.94,-0.189),(0.95,-0.195),(0.962,-0.21),(0.966,-0.22),(0.967,-0.23),(0.966,-0.24),(0.963,-0.25),(0.955,-0.26),(0.94,-0.271),(0.92,-0.282),(0.901,-0.3),(0.884,-0.32),(0.872,-0.33),(0.86,-0.336),(0.84,-0.341),(0.84,-0.672),(0.91,-0.668),(0.92,-0.665),(0.929,-0.66),(0.94,-0.645),(0.946,-0.63),(0.957,-0.61),(1.01,-0.562),(1.025,-0.551),(1.025,0.516),(0.98,0.515),(0.94,0.526),(0.915,0.53),(0.84,0.532),(0.84,-0.174)],
  [(0.86,-1.498),(1.025,-1.499),(1.025,-0.815),(1,-0.819),(0.99,-0.824),(0.982,-0.83),(0.976,-0.84),(0.973,-0.85),(0.976,-0.87),(0.974,-0.88),(0.97,-0.89),(0.95,-0.918),(0.939,-0.93),(0.93,-0.937),(0.92,-0.941),(0.91,-0.943),(0.86,-0.942),(0.84,-0.939),(0.84,-1.498)],
  [(1.1,0.853),(1.115,0.86),(1.124,0.87),(1.128,0.88),(1.13,0.89),(1.132,0.92),(1.135,0.93),(1.14,0.938),(1.15,0.946),(1.159,0.95),(1.17,0.953),(1.19,0.953),(1.19,1.499),(1.025,1.499),(1.025,1.03),(1.028,0.98),(1.032,0.97),(1.047,0.95),(1.051,0.94),(1.052,0.93),(1.048,0.9),(1.048,0.89),(1.049,0.88),(1.052,0.87),(1.06,0.86),(1.07,0.853),(1.08,0.851),(1.09,0.851)],
  [(1.083,-0.25),(1.086,-0.24),(1.09,-0.235),(1.096,-0.23),(1.11,-0.224),(1.16,-0.213),(1.17,-0.212),(1.19,-0.215),(1.19,0.527),(1.16,0.525),(1.11,0.515),(1.09,0.513),(1.07,0.513),(1.04,0.517),(1.025,0.516),(1.025,-0.26),(1.082,-0.26)],
  [(1.19,-0.298),(1.11,-0.291),(1.1,-0.288),(1.088,-0.28),(1.083,-0.27),(1.082,-0.26),(1.025,-0.26),(1.025,-0.551),(1.04,-0.54),(1.07,-0.514),(1.079,-0.51),(1.09,-0.509),(1.1,-0.51),(1.11,-0.516),(1.114,-0.52),(1.122,-0.53),(1.126,-0.54),(1.13,-0.558),(1.131,-0.59),(1.133,-0.6),(1.137,-0.61),(1.145,-0.62),(1.16,-0.629),(1.19,-0.634)],
  [(1.17,-1.5),(1.19,-1.5),(1.19,-1.024),(1.185,-1.02),(1.178,-1.01),(1.168,-0.97),(1.153,-0.94),(1.151,-0.92),(1.15,-0.88),(1.148,-0.87),(1.138,-0.84),(1.13,-0.825),(1.12,-0.817),(1.11,-0.813),(1.1,-0.811),(1.08,-0.811),(1.025,-0.815),(1.025,-1.499)],
  [(1.223,-0.24),(1.228,-0.25),(1.23,-0.258),(1.231,-0.27),(1.229,-0.28),(1.22,-0.294),(1.21,-0.298),(1.2,-0.299),(1.19,-0.298),(1.19,-0.634),(1.21,-0.634),(1.23,-0.63),(1.24,-0.624),(1.244,-0.62),(1.25,-0.612),(1.254,-0.6),(1.255,-0.59),(1.253,-0.56),(1.255,-0.54),(1.263,-0.51),(1.27,-0.492),(1.28,-0.476),(1.288,-0.47),(1.31,-0.462),(1.32,-0.461),(1.32,-0.289),(1.307,-0.27),(1.299,-0.25),(1.296,-0.24),(1.295,-0.23),(1.295,-0.22),(1.3,-0.208),(1.307,-0.2),(1.32,-0.193),(1.32,1.498),(1.31,1.499),(1.19,1.499),(1.19,0.953),(1.2,0.951),(1.21,0.947),(1.22,0.94),(1.226,0.93),(1.232,0.89),(1.236,0.88),(1.25,0.857),(1.253,0.85),(1.255,0.84),(1.251,0.8),(1.252,0.78),(1.255,0.77),(1.262,0.76),(1.29,0.74),(1.3,0.73),(1.305,0.72),(1.308,0.71),(1.308,0.7),(1.303,0.68),(1.28,0.626),(1.271,0.6),(1.27,0.59),(1.272,0.57),(1.271,0.56),(1.268,0.55),(1.26,0.539),(1.25,0.533),(1.24,0.53),(1.21,0.527),(1.19,0.527),(1.19,-0.215),(1.21,-0.225),(1.216,-0.23)],
  [(1.2,-1.5),(1.32,-1.499),(1.32,-0.763),(1.31,-0.771),(1.28,-0.787),(1.276,-0.79),(1.269,-0.8),(1.265,-0.82),(1.264,-0.87),(1.268,-0.97),(1.267,-0.99),(1.262,-1.01),(1.255,-1.02),(1.25,-1.024),(1.24,-1.029),(1.23,-1.031),(1.21,-1.031),(1.2,-1.029),(1.19,-1.024),(1.19,-1.5)],
  [(1.33,-0.189),(1.36,-0.184),(1.373,-0.18),(1.39,-0.172),(1.42,-0.154),(1.44,-0.149),(1.46,-0.15),(1.47,-0.153),(1.48,-0.159),(1.49,-0.174),(1.492,-0.18),(1.497,-0.235),(1.497,0.516),(1.495,0.53),(1.495,0.56),(1.497,0.58),(1.496,0.67),(1.497,0.69),(1.492,0.88),(1.493,0.99),(1.497,1.1),(1.497,1.482),(1.49,1.492),(1.48,1.498),(1.47,1.501),(1.46,1.502),(1.42,1.497),(1.32,1.498),(1.32,-0.193)],
  [(1.34,-0.461),(1.35,-0.462),(1.366,-0.47),(1.374,-0.48),(1.378,-0.49),(1.378,-0.52),(1.375,-0.56),(1.377,-0.62),(1.375,-0.64),(1.37,-0.658),(1.353,-0.69),(1.336,-0.74),(1.331,-0.75),(1.32,-0.763),(1.32,-1.499),(1.41,-1.498),(1.43,-1.499),(1.45,-1.502),(1.47,-1.501),(1.48,-1.498),(1.49,-1.492),(1.497,-1.482),(1.497,-0.55),(1.496,-0.54),(1.497,-0.53),(1.497,-0.274),(1.492,-0.29),(1.48,-0.301),(1.47,-0.305),(1.45,-0.308),(1.43,-0.307),(1.39,-0.312),(1.36,-0.314),(1.35,-0.312),(1.34,-0.307),(1.33,-0.3),(1.32,-0.289),(1.32,-0.461)],
  [(1.497,1.42),(1.498,1.43),(1.5,1.44),(1.5,1.441),(1.501,1.45),(1.502,1.46),(1.501,1.47),(1.5,1.474),(1.498,1.48),(1.497,1.482),(1.497,1.41)],
  [(1.497,1.13),(1.497,1.14),(1.498,1.15),(1.498,1.3),(1.499,1.31),(1.499,1.32),(1.498,1.33),(1.498,1.37),(1.497,1.38),(1.497,1.389)],
  [(1.497,0.59),(1.498,0.6),(1.498,0.61),(1.498,0.62),(1.498,0.63),(1.497,0.64),(1.497,0.65),(1.497,0.585)],
  [(1.499,-0.52),(1.504,-0.51),(1.51,-0.503),(1.516,-0.5),(1.53,-0.497),(1.56,-0.499),(1.63,-0.5),(1.71,-0.499),(1.72,-0.5),(1.73,-0.49),(1.73,0.5),(1.69,0.498),(1.64,0.499),(1.58,0.496),(1.53,0.491),(1.52,0.492),(1.51,0.496),(1.505,0.5),(1.5,0.507),(1.497,0.516),(1.497,-0.235),(1.498,-0.24),(1.497,-0.53)],
  [(1.498,-1.48),(1.501,-1.47),(1.502,-1.46),(1.502,-1.45),(1.5,-1.44),(1.5,-1.437),(1.498,-1.42),(1.498,-1.25),(1.499,-1.24),(1.499,-1.17),(1.5,-1.16),(1.5,-0.71),(1.499,-0.7),(1.499,-0.67),(1.5,-0.66),(1.5,-0.59),(1.497,-0.56),(1.497,-1.482)],
  [(-0.86,-1.254),(-0.85,-1.256),(-0.84,-1.255),(-0.83,-1.251),(-0.82,-1.244),(-0.811,-1.23),(-0.808,-1.21),(-0.809,-1.2),(-0.812,-1.19),(-0.82,-1.178),(-0.83,-1.171),(-0.84,-1.168),(-0.85,-1.167),(-0.86,-1.168),(-0.87,-1.171),(-0.885,-1.18),(-0.893,-1.19),(-0.896,-1.2),(-0.897,-1.21),(-0.896,-1.22),(-0.892,-1.23),(-0.88,-1.243)],
  [(-0.59,-1.21),(-0.58,-1.211),(-0.57,-1.209),(-0.557,-1.2),(-0.55,-1.187),(-0.548,-1.18),(-0.55,-1.167),(-0.56,-1.153),(-0.57,-1.147),(-0.58,-1.145),(-0.59,-1.145),(-0.6,-1.149),(-0.611,-1.16),(-0.614,-1.17),(-0.614,-1.18),(-0.61,-1.195),(-0.607,-1.2),(-0.6,-1.206)])

lib.write_gds('POLYGONS.gds')
